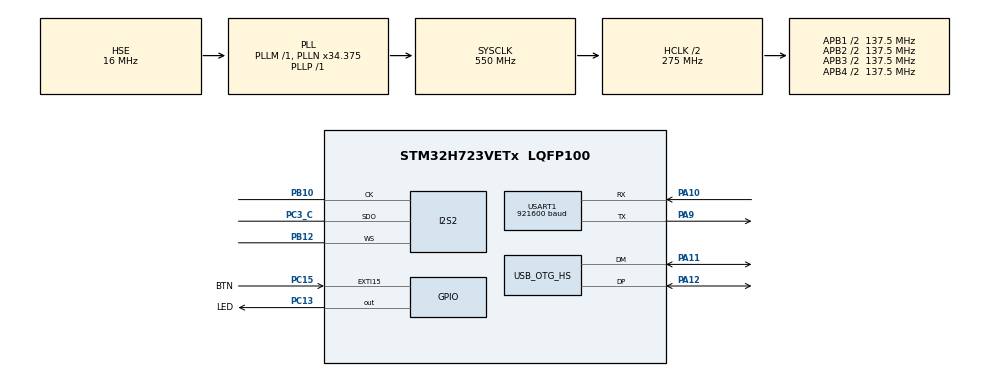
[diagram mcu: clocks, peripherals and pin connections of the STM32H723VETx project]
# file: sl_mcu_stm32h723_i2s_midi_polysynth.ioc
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CORTEX_M7.CPU_ICache=Enabled
CORTEX_M7.default_mode_Activation=1
Dma.Request0=SPI2_TX
Dma.SPI2_TX.0.Direction=DMA_MEMORY_TO_PERIPH
Dma.SPI2_TX.0.EventEnable=DISABLE
Dma.SPI2_TX.0.FIFOMode=DMA_FIFOMODE_DISABLE
Dma.SPI2_TX.0.Instance=DMA1_Stream0
Dma.SPI2_TX.0.MemDataAlignment=DMA_MDATAALIGN_HALFWORD
Dma.SPI2_TX.0.MemInc=DMA_MINC_ENABLE
Dma.SPI2_TX.0.Mode=DMA_CIRCULAR
Dma.SPI2_TX.0.PeriphDataAlignment=DMA_PDATAALIGN_HALFWORD
Dma.SPI2_TX.0.PeriphInc=DMA_PINC_DISABLE
Dma.SPI2_TX.0.Polarity=HAL_DMAMUX_REQ_GEN_RISING
Dma.SPI2_TX.0.Priority=DMA_PRIORITY_LOW
Dma.SPI2_TX.0.RequestNumber=1
Dma.SPI2_TX.0.SignalID=NONE
Dma.SPI2_TX.0.SyncEnable=DISABLE
Dma.SPI2_TX.0.SyncPolarity=HAL_DMAMUX_SYNC_NO_EVENT
Dma.SPI2_TX.0.SyncRequestNumber=1
Dma.SPI2_TX.0.SyncSignalID=NONE
I2S2.AudioFreq=I2S_AUDIOFREQ_48K
I2S2.ErrorAudioFreq=0.0 %
I2S2.Instance=SPI$Index
I2S2.RealAudioFreq=48.0 KHz
Mcu.Family=STM32H7
Mcu.Name=STM32H723VETx
Mcu.Package=LQFP100
NVIC.DMA1_Stream0_IRQn=true\:0\:0\:false\:false\:true\:false\:true\:true
NVIC.EXTI15_10_IRQn=true\:0\:0\:false\:false\:true\:true\:true\:true
NVIC.OTG_HS_EP1_IN_IRQn=true\:0\:0\:false\:false\:true\:true\:true\:true
NVIC.OTG_HS_EP1_OUT_IRQn=true\:0\:0\:false\:false\:true\:true\:true\:true
NVIC.OTG_HS_IRQn=true\:0\:0\:false\:false\:true\:true\:true\:true
NVIC.PriorityGroup=NVIC_PRIORITYGROUP_4
PA10.Mode=Asynchronous
PA10.Signal=USART1_RX
PA11.Mode=Device_Only_FS
PA11.Signal=USB_OTG_HS_DM
PA12.Mode=Device_Only_FS
PA12.Signal=USB_OTG_HS_DP
PA13(JTMS/SWDIO).Mode=Trace_Asynchronous_SW
PA13(JTMS/SWDIO).Signal=DEBUG_JTMS-SWDIO
PA14(JTCK/SWCLK).Mode=Trace_Asynchronous_SW
PA14(JTCK/SWCLK).Signal=DEBUG_JTCK-SWCLK
PA9.Mode=Asynchronous
PA9.Signal=USART1_TX
PB10.Mode=Half_Duplex_Master_Tx
PB10.Signal=I2S2_CK
PB12.Mode=Half_Duplex_Master_Tx
PB12.Signal=I2S2_WS
PB3(JTDO/TRACESWO).Mode=Trace_Asynchronous_SW
PB3(JTDO/TRACESWO).Signal=DEBUG_JTDO-SWO
PC13.GPIO_Label=LED
PC13.GPIO_ModeDefaultOutputPP=GPIO_MODE_OUTPUT_OD
PC13.GPIO_PuPd=GPIO_NOPULL
PC13.PinState=GPIO_PIN_SET
PC13.Signal=GPIO_Output
PC15-OSC32_OUT.GPIO_Label=BTN
PC15-OSC32_OUT.GPIO_ModeDefaultEXTI=GPIO_MODE_IT_FALLING
PC15-OSC32_OUT.GPIO_PuPd=GPIO_PULLUP
PC15-OSC32_OUT.Signal=GPXTI15
PC3_C.Mode=Half_Duplex_Master_Tx
PC3_C.Signal=I2S2_SDO
PH0-OSC_IN.Mode=HSE-External-Oscillator
PH0-OSC_IN.Signal=RCC_OSC_IN
PH1-OSC_OUT.Mode=HSE-External-Oscillator
PH1-OSC_OUT.Signal=RCC_OSC_OUT
ProjectManager.HeapSize=0x200
ProjectManager.StackSize=0x400
ProjectManager.TargetToolchain=STM32CubeIDE
RCC.ADCFreq_Value=192000000
RCC.APB1Freq_Value=137500000
RCC.APB2Freq_Value=137500000
RCC.APB3Freq_Value=137500000
RCC.APB4Freq_Value=137500000
RCC.CortexFreq_Value=550000000
RCC.D1PPRE=RCC_APB3_DIV2
RCC.D2PPRE1=RCC_APB1_DIV2
RCC.D2PPRE2=RCC_APB2_DIV2
RCC.D3PPRE=RCC_APB4_DIV2
RCC.DIVM1=1
RCC.DIVM2=4
RCC.DIVN1=34
RCC.DIVN2=96
RCC.DIVP1=1
RCC.DIVQ1=5
RCC.HCLKFreq_Value=275000000
RCC.HPRE=RCC_HCLK_DIV2
RCC.HSE_VALUE=16000000
RCC.PLL2FRACN=0
RCC.PLL3FRACN=0
RCC.PLLFRACN=3072
RCC.PLLSourceVirtual=RCC_PLLSOURCE_HSE
RCC.SPI123CLockSelection=RCC_SPI123CLKSOURCE_PLL2
RCC.SYSCLKFreq_VALUE=550000000
RCC.SYSCLKSource=RCC_SYSCLKSOURCE_PLLCLK
RCC.USBCLockSelection=RCC_USBCLKSOURCE_HSI48
RCC.USBFreq_Value=48000000
USART1.BaudRate=921600
USART1.VirtualMode-Asynchronous=VM_ASYNC
USB_OTG_HS.VirtualMode-Device_Only_FS=Device_Only_FS
VP_MEMORYMAP_VS_MEMORYMAP.Mode=CurAppReg
board=custom

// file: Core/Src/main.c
/* USER CODE BEGIN Header */
/*----------------------------------------------------------------------------
 | @file           : main.c
 | @brief          : USB MIDI Polyphonic Synthesizer (Deferred Processing)
 |----------------------------------------------------------------------------
 | @attention
 |
 | Copyright (c) 2026 STM32World
 | All rights reserved.
 |
 | This software is licensed under terms that can be found in the LICENSE file
 | in the root directory of this software component.
 | If no LICENSE file comes with this software, it is provided AS-IS.
 |
 |----------------------------------------------------------------------------*/
/* USER CODE END Header */
#include "main.h"

/* USER CODE BEGIN Includes */
#include <stdio.h>
#include <math.h>
#include <arm_math.h>
#include "tusb.h"
/* USER CODE END Includes */

/* USER CODE BEGIN PTD */

enum wave_t {
    SINE_WAVE = 0,
    SAW_RIGHT_WAVE = 1,
    SAW_LEFT_WAVE = 2,
    TRIANGLE_WAVE = 3,
    SQUARE_WAVE = 4
};

typedef enum {
    ENVELOPE_IDLE = 0,
    ENVELOPE_ATTACK,
    ENVELOPE_DECAY,
    ENVELOPE_SUSTAIN,
    ENVELOPE_RELEASE
} env_stage_t;

typedef struct {
    float attack_rate;   // Gain increase per sample
    float decay_rate;    // Gain decrease per sample
    float sustain_level; // Target level [0.0f - 1.0f]
    float release_rate;  // Gain decrease per sample
} adsr_config_t;

typedef struct {
    uint8_t active;
    uint8_t note;
    float velocity_gain;
    enum wave_t wave_type;
    float angle;
    float angle_change;

    // ADSR State Data
    env_stage_t env_stage;
    float env_level;
} synth_voice_t;

/* USER CODE END PTD */

/* USER CODE BEGIN PD */

#define TAU 6.28318530717958647692f

// 64 samples per half-buffer (~1.33ms window prevents DMA starvation during USB/UART tasks)
#define I2S_DMA_BUFFER_SAMPLES 64

// Stereo (2 channels) * 2 half-buffers (Ping-Pong) * Samples
#define I2S_DMA_BUFFER_SIZE (2 * 2 * I2S_DMA_BUFFER_SAMPLES)

#define SAMPLE_FREQ 48000
#define MAX_VOICES 10

#define PCM16_MAX  32767.0f
#define PCM16_MIN -32768.0f

#define TOTAL_CALCULATIONS 500000

/* USER CODE END PD */

I2S_HandleTypeDef hi2s2;
DMA_HandleTypeDef hdma_spi2_tx;

UART_HandleTypeDef huart1;

PCD_HandleTypeDef hpcd_USB_OTG_HS;

/* USER CODE BEGIN PV */

static const float MIDI_NOTE_TO_FREQ[128] = {
        8.1758f, 8.6620f, 9.1770f, 9.7227f, 10.3009f, 10.9134f, 11.5623f, 12.2499f,
        12.9783f, 13.7500f, 14.5676f, 15.4339f, 16.3516f, 17.3239f, 18.3540f, 19.4454f,
        20.6017f, 21.8268f, 23.1247f, 24.4997f, 25.9565f, 27.5000f, 29.1352f, 30.8677f,
        32.7032f, 34.6478f, 36.7081f, 38.8909f, 41.2034f, 43.6535f, 46.2493f, 48.9994f,
        51.9131f, 55.0000f, 58.2705f, 61.7354f, 65.4064f, 69.2957f, 73.4162f, 77.7817f,
        82.4069f, 87.3071f, 92.4986f, 97.9989f, 103.8262f, 110.0000f, 116.5409f, 123.4708f,
        130.8128f, 138.5913f, 146.8324f, 155.5635f, 164.8138f, 174.6141f, 185.0000f, 195.9977f,
        207.6523f, 220.0000f, 233.0819f, 246.9417f, 261.6256f, 277.1826f, 293.6648f, 311.1270f,
        329.6276f, 349.2282f, 369.9944f, 391.9954f, 415.3047f, 440.0000f, 466.1638f, 493.8833f,
        523.2511f, 554.3653f, 587.3295f, 622.2540f, 659.2551f, 698.4565f, 739.9888f, 783.9909f,
        830.6094f, 880.0000f, 932.3275f, 987.7666f, 1046.5023f, 1108.7305f, 1174.6591f, 1244.5079f,
        1318.5102f, 1396.9129f, 1479.9777f, 1567.9817f, 1661.2188f, 1760.0000f, 1864.6550f, 1975.5332f,
        2093.0045f, 2217.4610f, 2349.3181f, 2489.0159f, 2637.0205f, 2793.8259f, 2959.9554f, 3135.9635f,
        3322.4376f, 3520.0000f, 3729.3101f, 3951.0664f, 4186.0090f, 4434.9221f, 4698.6363f, 4978.0317f,
        5274.0410f, 5587.6518f, 5919.9108f, 6271.9270f, 6644.8752f, 7040.0000f, 7458.6202f, 7902.1328f,
        8372.0181f, 8869.8443f, 9397.2726f, 9956.0635f, 10548.0820f, 11175.3037f, 11839.8216f, 12543.8540f
};

int16_t i2s_dma_buffer[I2S_DMA_BUFFER_SIZE];
volatile int16_t *dma_buffer_to_fill = NULL; // Deferred buffer processing pointer (volatile for ISR safety)

synth_voice_t voices[MAX_VOICES] = { 0 };
enum wave_t global_wave_type = TRIANGLE_WAVE; // Sounds best when recording

// Master Volume Scaler [0.0f to 1.0f]
static float master_volume = 0.5f;

// ADSR profile: Attack 15ms, Decay 80ms, Sustain 70%, Release 120ms
adsr_config_t global_adsr = {
        .attack_rate = 1.0f / (0.015f * SAMPLE_FREQ),
        .decay_rate = (1.0f - 0.7f) / (0.080f * SAMPLE_FREQ),
        .sustain_level = 0.7f,
        .release_rate = 0.7f / (0.120f * SAMPLE_FREQ)
};

// Single-Pole IIR Low-Pass Filter state
static float lpf_state = 0.0f;
static float lpf_alpha = 0.15f;

void synth_set_cutoff(float cutoff_hz) {
    float nyquist = (float) SAMPLE_FREQ * 0.5f;
    if (cutoff_hz > nyquist)
        cutoff_hz = nyquist;
    float w0 = TAU * cutoff_hz;
    lpf_alpha = w0 / (w0 + (float) SAMPLE_FREQ);
}

void synth_set_master_volume(float vol) {
    if (vol > 1.0f)
        vol = 1.0f;
    if (vol < 0.0f)
        vol = 0.0f;
    master_volume = vol;
}

float synth_get_master_volume(void) {
    return master_volume;
}

uint8_t change_wave = 0;

/* USER CODE END PV */

void SystemClock_Config(void);
static void MPU_Config(void);
static void MX_GPIO_Init(void);
static void MX_DMA_Init(void);
static void MX_I2S2_Init(void);
static void MX_USART1_UART_Init(void);
static void MX_USB_OTG_HS_PCD_Init(void);

/* USER CODE BEGIN 0 */

int __io_putchar(int ch) {
    if (ch == '\n') {
        HAL_UART_Transmit(&huart1, (uint8_t*) "\r", 1, HAL_MAX_DELAY);
    }
    if (HAL_UART_Transmit(&huart1, (uint8_t*) &ch, 1, HAL_MAX_DELAY) != HAL_OK) {
        return -1;
    }
    return ch;
}

void process_buffer(int16_t *out_buffer) {
    float mix_buffer[I2S_DMA_BUFFER_SAMPLES] = { 0.0f };
    const float inv_two_pi = 1.0f / TAU;

    for (int v = 0; v < MAX_VOICES; v++) {
        synth_voice_t *voice = &voices[v];

        if (!voice->active)
            continue;

        for (int i = 0; i < I2S_DMA_BUFFER_SAMPLES; i++) {
            switch (voice->env_stage) {
            case ENVELOPE_ATTACK:
                voice->env_level += global_adsr.attack_rate;
                if (voice->env_level >= 1.0f) {
                    voice->env_level = 1.0f;
                    voice->env_stage = ENVELOPE_DECAY;
                }
                break;

            case ENVELOPE_DECAY:
                voice->env_level -= global_adsr.decay_rate;
                if (voice->env_level <= global_adsr.sustain_level) {
                    voice->env_level = global_adsr.sustain_level;
                    voice->env_stage = ENVELOPE_SUSTAIN;
                }
                break;

            case ENVELOPE_SUSTAIN:
                voice->env_level = global_adsr.sustain_level;
                break;

            case ENVELOPE_RELEASE:
                voice->env_level -= global_adsr.release_rate;
                if (voice->env_level <= 0.0f) {
                    voice->env_level = 0.0f;
                    voice->env_stage = ENVELOPE_IDLE;
                    voice->active = 0;
                }
                break;

            default:
                break;
            }

            if (voice->active) {
                float sample = 0.0f;
                switch (voice->wave_type) {
                case SINE_WAVE:
                    sample = arm_sin_f32(voice->angle);
                    break;

                case SAW_RIGHT_WAVE: {
                    float phase = voice->angle * inv_two_pi;
                    sample = (2.0f * phase) - 1.0f;
                    break;
                }

                case SAW_LEFT_WAVE: {
                    float phase = voice->angle * inv_two_pi;
                    sample = 1.0f - (2.0f * phase);
                    break;
                }

                case TRIANGLE_WAVE: {
                    float phase = voice->angle * inv_two_pi;
                    sample = (phase < 0.5f) ? (4.0f * phase - 1.0f) : (3.0f - 4.0f * phase);
                    break;
                }

                case SQUARE_WAVE: {
                    float phase = voice->angle * inv_two_pi;
                    sample = (phase < 0.5f) ? 1.0f : -1.0f;
                    break;
                }
                }

                mix_buffer[i] += sample * voice->velocity_gain * voice->env_level;

                voice->angle += voice->angle_change;
                while (voice->angle >= TAU) {
                    voice->angle -= TAU;
                }
            }
        }
    }

    // Headroom calculation scaled by global master_volume [0.0f to 1.0f]
    const float master_gain = (32767.0f / (float) MAX_VOICES) * master_volume;

    for (int i = 0; i < I2S_DMA_BUFFER_SAMPLES; i++) {
        int idx = i * 2;

        float raw_val = mix_buffer[i] * master_gain;

        // Smooth IIR Low-Pass Filter without harsh instant state resets
        lpf_state += lpf_alpha * (raw_val - lpf_state);

        float val = lpf_state;
        if (val > PCM16_MAX)
            val = PCM16_MAX;
        if (val < PCM16_MIN)
            val = PCM16_MIN;

        int16_t sample_16 = (int16_t) val;

        out_buffer[idx] = sample_16;
        out_buffer[idx + 1] = sample_16;
    }
}

/* Deferred ISR Callbacks Correctly dynamic for buffer size */
void HAL_I2S_TxHalfCpltCallback(I2S_HandleTypeDef *hi2s) {
    if (hi2s->Instance == SPI2) {
        dma_buffer_to_fill = &i2s_dma_buffer[0];
    }
}

void HAL_I2S_TxCpltCallback(I2S_HandleTypeDef *hi2s) {
    if (hi2s->Instance == SPI2) {
        dma_buffer_to_fill = &i2s_dma_buffer[I2S_DMA_BUFFER_SIZE / 2];
    }
}

void HAL_GPIO_EXTI_Callback(uint16_t GPIO_Pin) {
    if (GPIO_Pin == BTN_Pin) {
        change_wave = 1;
    }
}

void synth_note_off(uint8_t note) {
    printf("Off: %d\n", note);
    for (int i = 0; i < MAX_VOICES; i++) {
        if (voices[i].active && voices[i].note == note && voices[i].env_stage != ENVELOPE_RELEASE) {
            voices[i].env_stage = ENVELOPE_RELEASE;
        }
    }
}

void synth_all_notes_off(void) {
    for (int i = 0; i < MAX_VOICES; i++) {
        if (voices[i].active) {
            voices[i].env_stage = ENVELOPE_RELEASE;
        }
    }
}

void synth_note_on(uint8_t note, uint8_t velocity) {
    printf("On : %d\n", note);
    if (note > 127 || velocity == 0) {
        synth_note_off(note);
        return;
    }

    int slot = -1;

    for (int i = 0; i < MAX_VOICES; i++) {
        if (voices[i].active && voices[i].note == note) {
            slot = i;
            break;
        }
    }

    if (slot == -1) {
        for (int i = 0; i < MAX_VOICES; i++) {
            if (!voices[i].active) {
                slot = i;
                break;
            }
        }
    }

    if (slot == -1) {
        slot = 0;
    }

    voices[slot].note = note;
    voices[slot].velocity_gain = (float) velocity / 127.0f;
    voices[slot].angle_change = MIDI_NOTE_TO_FREQ[note] * (TAU / SAMPLE_FREQ);
    voices[slot].wave_type = global_wave_type;

    // Set zero-crossing starting phases depending on waveform type to prevent attack clicks
    if (!voices[slot].active) {
        if (global_wave_type == TRIANGLE_WAVE) {
            voices[slot].angle = TAU * 0.25f; // Zero crossing for triangle
        } else if (global_wave_type == SAW_RIGHT_WAVE || global_wave_type == SAW_LEFT_WAVE) {
            voices[slot].angle = TAU * 0.50f; // Zero crossing for sawtooth
        } else {
            voices[slot].angle = 0.0f; // Sine and Square start at 0
        }
        voices[slot].env_level = 0.0f;
    }

    voices[slot].env_stage = ENVELOPE_ATTACK;
    voices[slot].active = 1;
}

void tud_midi_rx_cb(uint8_t itf)
{
    (void) itf;
    uint8_t packet[4];

    while (tud_midi_packet_read(packet))
    {
        uint8_t status = packet[1];
        uint8_t data1 = packet[2]; // MIDI Note / Controller
        uint8_t data2 = packet[3]; // Velocity / Control Value

        uint8_t msg_type = status & 0xF0;

        switch (msg_type)
        {
        case 0x90: // Note On
            if (data2 > 0) {
                synth_note_on(data1, data2);
            } else {
                synth_note_off(data1);
            }
            break;

        case 0x80: // Note Off
            synth_note_off(data1);
            break;

        case 0xB0: // Control Change
            if (data1 == 7) { // MIDI CC #7: Master Volume
                synth_set_master_volume((float) data2 / 127.0f);
            } else if (data1 == 123 || data1 == 120) {
                synth_all_notes_off();
            }
            break;

        default:
            break;
        }
    }
}

/* USER CODE END 0 */

int main(void)
{

    /* MPU Configuration--------------------------------------------------------*/
    MPU_Config();

    /* Enable the CPU Cache */

    /* Enable I-Cache---------------------------------------------------------*/
    SCB_EnableICache();

    /* MCU Configuration--------------------------------------------------------*/

    /* Reset of all peripherals, Initializes the Flash interface and the Systick. */
    HAL_Init();

    /* Configure the system clock */
    SystemClock_Config();

    /* Initialize all configured peripherals */
    MX_GPIO_Init();
    MX_DMA_Init();
    MX_I2S2_Init();
    MX_USART1_UART_Init();
    MX_USB_OTG_HS_PCD_Init();
    /* USER CODE BEGIN 2 */

    printf("\n\n\nStarting USB MIDI Synth (Deferred Execution Model)\n");

    // Enable USB IRQ for TinyUSB event handling
    HAL_NVIC_SetPriority(OTG_HS_IRQn, 5, 0);
    HAL_NVIC_EnableIRQ(OTG_HS_IRQn);

    // Start I2S DMA transmission using full buffer size
    HAL_I2S_Transmit_DMA(&hi2s2, (uint16_t*) i2s_dma_buffer, I2S_DMA_BUFFER_SIZE);

    // Initialize TinyUSB Device stack
    tusb_init();

    // Enable Soft Connect on OTG_HS peripheral (pulls D+ high via internal resistor)
    HAL_PCD_DevConnect(&hpcd_USB_OTG_HS);

    synth_set_cutoff(8000.0f);
    synth_set_master_volume(0.5f);

    /* USER CODE END 2 */

    /* Infinite loop */
    /* USER CODE BEGIN WHILE */

    uint32_t now = 0;
    uint32_t loop_cnt = 0;
    uint32_t next_blink = 500;
    uint32_t next_tick = 1000;

    while (1) {

        // Process audio buffer IMMEDIATELY when requested by ISR
        if (dma_buffer_to_fill != NULL) {
            int16_t *buf = (int16_t*) dma_buffer_to_fill;
            dma_buffer_to_fill = NULL; // Clear flag before processing to prevent double-fills
            process_buffer(buf);
        }

        // 2. Handle TinyUSB events
        tud_task();

        // 3. Low priority tasks
        now = uwTick;

        if (change_wave) {
            global_wave_type = (enum wave_t) ((global_wave_type + 1) % 5);
            printf("Waveform Changed -> %d\n", global_wave_type);
            change_wave = 0;
        }

        if (now >= next_blink) {
            HAL_GPIO_TogglePin(LED_GPIO_Port, LED_Pin);
            next_blink = now + 500;
        }

        if (now >= next_tick) {
            printf("Tick %lu (loop=%lu)\n", now / 1000, loop_cnt);
            loop_cnt = 0;
            next_tick = now + 1000;
        }

        ++loop_cnt;

        /* USER CODE END WHILE */

    }
}

void SystemClock_Config(void)
{
    RCC_OscInitTypeDef RCC_OscInitStruct = { 0 };
    RCC_ClkInitTypeDef RCC_ClkInitStruct = { 0 };

    /** Supply configuration update enable
     */
    HAL_PWREx_ConfigSupply(PWR_LDO_SUPPLY);

    /** Configure the main internal regulator output voltage
     */
    __HAL_PWR_VOLTAGESCALING_CONFIG(PWR_REGULATOR_VOLTAGE_SCALE0);

    while (!__HAL_PWR_GET_FLAG(PWR_FLAG_VOSRDY)) {
    }

    /** Initializes the RCC Oscillators according to the specified parameters
     * in the RCC_OscInitTypeDef structure.
     */
    RCC_OscInitStruct.OscillatorType = RCC_OSCILLATORTYPE_HSI48 | RCC_OSCILLATORTYPE_HSE;
    RCC_OscInitStruct.HSEState = RCC_HSE_ON;
    RCC_OscInitStruct.HSI48State = RCC_HSI48_ON;
    RCC_OscInitStruct.PLL.PLLState = RCC_PLL_ON;
    RCC_OscInitStruct.PLL.PLLSource = RCC_PLLSOURCE_HSE;
    RCC_OscInitStruct.PLL.PLLM = 1;
    RCC_OscInitStruct.PLL.PLLN = 34;
    RCC_OscInitStruct.PLL.PLLP = 1;
    RCC_OscInitStruct.PLL.PLLQ = 5;
    RCC_OscInitStruct.PLL.PLLR = 2;
    RCC_OscInitStruct.PLL.PLLRGE = RCC_PLL1VCIRANGE_3;
    RCC_OscInitStruct.PLL.PLLVCOSEL = RCC_PLL1VCOWIDE;
    RCC_OscInitStruct.PLL.PLLFRACN = 3072;
    if (HAL_RCC_OscConfig(&RCC_OscInitStruct) != HAL_OK)
            {
        Error_Handler();
    }

    /** Initializes the CPU, AHB and APB buses clocks
     */
    RCC_ClkInitStruct.ClockType = RCC_CLOCKTYPE_HCLK | RCC_CLOCKTYPE_SYSCLK
            | RCC_CLOCKTYPE_PCLK1 | RCC_CLOCKTYPE_PCLK2
            | RCC_CLOCKTYPE_D3PCLK1 | RCC_CLOCKTYPE_D1PCLK1;
    RCC_ClkInitStruct.SYSCLKSource = RCC_SYSCLKSOURCE_PLLCLK;
    RCC_ClkInitStruct.SYSCLKDivider = RCC_SYSCLK_DIV1;
    RCC_ClkInitStruct.AHBCLKDivider = RCC_HCLK_DIV2;
    RCC_ClkInitStruct.APB3CLKDivider = RCC_APB3_DIV2;
    RCC_ClkInitStruct.APB1CLKDivider = RCC_APB1_DIV2;
    RCC_ClkInitStruct.APB2CLKDivider = RCC_APB2_DIV2;
    RCC_ClkInitStruct.APB4CLKDivider = RCC_APB4_DIV2;

    if (HAL_RCC_ClockConfig(&RCC_ClkInitStruct, FLASH_LATENCY_3) != HAL_OK)
            {
        Error_Handler();
    }
}

static void MX_I2S2_Init(void)
{

    hi2s2.Instance = SPI2;
    hi2s2.Init.Mode = I2S_MODE_MASTER_TX;
    hi2s2.Init.Standard = I2S_STANDARD_PHILIPS;
    hi2s2.Init.DataFormat = I2S_DATAFORMAT_16B;
    hi2s2.Init.MCLKOutput = I2S_MCLKOUTPUT_DISABLE;
    hi2s2.Init.AudioFreq = I2S_AUDIOFREQ_48K;
    hi2s2.Init.CPOL = I2S_CPOL_LOW;
    hi2s2.Init.FirstBit = I2S_FIRSTBIT_MSB;
    hi2s2.Init.WSInversion = I2S_WS_INVERSION_DISABLE;
    hi2s2.Init.Data24BitAlignment = I2S_DATA_24BIT_ALIGNMENT_RIGHT;
    hi2s2.Init.MasterKeepIOState = I2S_MASTER_KEEP_IO_STATE_DISABLE;
    if (HAL_I2S_Init(&hi2s2) != HAL_OK)
            {
        Error_Handler();
    }

}

static void MX_USART1_UART_Init(void)
{

    huart1.Instance = USART1;
    huart1.Init.BaudRate = 921600;
    huart1.Init.WordLength = UART_WORDLENGTH_8B;
    huart1.Init.StopBits = UART_STOPBITS_1;
    huart1.Init.Parity = UART_PARITY_NONE;
    huart1.Init.Mode = UART_MODE_TX_RX;
    huart1.Init.HwFlowCtl = UART_HWCONTROL_NONE;
    huart1.Init.OverSampling = UART_OVERSAMPLING_16;
    huart1.Init.OneBitSampling = UART_ONE_BIT_SAMPLE_DISABLE;
    huart1.Init.ClockPrescaler = UART_PRESCALER_DIV1;
    huart1.AdvancedInit.AdvFeatureInit = UART_ADVFEATURE_NO_INIT;
    if (HAL_UART_Init(&huart1) != HAL_OK)
            {
        Error_Handler();
    }
    if (HAL_UARTEx_SetTxFifoThreshold(&huart1, UART_TXFIFO_THRESHOLD_1_8) != HAL_OK)
            {
        Error_Handler();
    }
    if (HAL_UARTEx_SetRxFifoThreshold(&huart1, UART_RXFIFO_THRESHOLD_1_8) != HAL_OK)
            {
        Error_Handler();
    }
    if (HAL_UARTEx_DisableFifoMode(&huart1) != HAL_OK)
            {
        Error_Handler();
    }

}

static void MX_USB_OTG_HS_PCD_Init(void)
{

    hpcd_USB_OTG_HS.Instance = USB_OTG_HS;
    hpcd_USB_OTG_HS.Init.dev_endpoints = 9;
    hpcd_USB_OTG_HS.Init.speed = PCD_SPEED_FULL;
    hpcd_USB_OTG_HS.Init.dma_enable = DISABLE;
    hpcd_USB_OTG_HS.Init.phy_itface = USB_OTG_EMBEDDED_PHY;
    hpcd_USB_OTG_HS.Init.Sof_enable = DISABLE;
    hpcd_USB_OTG_HS.Init.low_power_enable = DISABLE;
    hpcd_USB_OTG_HS.Init.lpm_enable = DISABLE;
    hpcd_USB_OTG_HS.Init.vbus_sensing_enable = DISABLE;
    hpcd_USB_OTG_HS.Init.use_dedicated_ep1 = DISABLE;
    hpcd_USB_OTG_HS.Init.use_external_vbus = DISABLE;
    if (HAL_PCD_Init(&hpcd_USB_OTG_HS) != HAL_OK)
            {
        Error_Handler();
    }

}

static void MX_DMA_Init(void)
{

    /* DMA controller clock enable */
    __HAL_RCC_DMA1_CLK_ENABLE();

    /* DMA interrupt init */
    /* DMA1_Stream0_IRQn interrupt configuration */
    HAL_NVIC_SetPriority(DMA1_Stream0_IRQn, 0, 0);
    HAL_NVIC_EnableIRQ(DMA1_Stream0_IRQn);

}

static void MX_GPIO_Init(void)
{
    GPIO_InitTypeDef GPIO_InitStruct = { 0 };

    /* GPIO Ports Clock Enable */
    __HAL_RCC_GPIOC_CLK_ENABLE();
    __HAL_RCC_GPIOH_CLK_ENABLE();
    __HAL_RCC_GPIOB_CLK_ENABLE();
    __HAL_RCC_GPIOA_CLK_ENABLE();

    /*Configure GPIO pin Output Level */
    HAL_GPIO_WritePin(LED_GPIO_Port, LED_Pin, GPIO_PIN_SET);

    /*Configure GPIO pin : LED_Pin */
    GPIO_InitStruct.Pin = LED_Pin;
    GPIO_InitStruct.Mode = GPIO_MODE_OUTPUT_OD;
    GPIO_InitStruct.Pull = GPIO_NOPULL;
    GPIO_InitStruct.Speed = GPIO_SPEED_FREQ_LOW;
    HAL_GPIO_Init(LED_GPIO_Port, &GPIO_InitStruct);

    /*Configure GPIO pin : BTN_Pin */
    GPIO_InitStruct.Pin = BTN_Pin;
    GPIO_InitStruct.Mode = GPIO_MODE_IT_FALLING;
    GPIO_InitStruct.Pull = GPIO_PULLUP;
    HAL_GPIO_Init(BTN_GPIO_Port, &GPIO_InitStruct);

    /* EXTI interrupt init*/
    HAL_NVIC_SetPriority(BTN_EXTI_IRQn, 0, 0);
    HAL_NVIC_EnableIRQ(BTN_EXTI_IRQn);

}

/* MPU Configuration */

void MPU_Config(void)
{
    MPU_Region_InitTypeDef MPU_InitStruct = { 0 };

    /* Disables the MPU */
    HAL_MPU_Disable();

    /** Initializes and configures the Region and the memory to be protected
     */
    MPU_InitStruct.Enable = MPU_REGION_ENABLE;
    MPU_InitStruct.Number = MPU_REGION_NUMBER0;
    MPU_InitStruct.BaseAddress = 0x0;
    MPU_InitStruct.Size = MPU_REGION_SIZE_4GB;
    MPU_InitStruct.SubRegionDisable = 0x87;
    MPU_InitStruct.TypeExtField = MPU_TEX_LEVEL0;
    MPU_InitStruct.AccessPermission = MPU_REGION_NO_ACCESS;
    MPU_InitStruct.DisableExec = MPU_INSTRUCTION_ACCESS_DISABLE;
    MPU_InitStruct.IsShareable = MPU_ACCESS_SHAREABLE;
    MPU_InitStruct.IsCacheable = MPU_ACCESS_NOT_CACHEABLE;
    MPU_InitStruct.IsBufferable = MPU_ACCESS_NOT_BUFFERABLE;

    HAL_MPU_ConfigRegion(&MPU_InitStruct);
    /* Enables the MPU */
    HAL_MPU_Enable(MPU_PRIVILEGED_DEFAULT);

}

void Error_Handler(void)
{
    __disable_irq();
    while (1)
    {
    }
}
